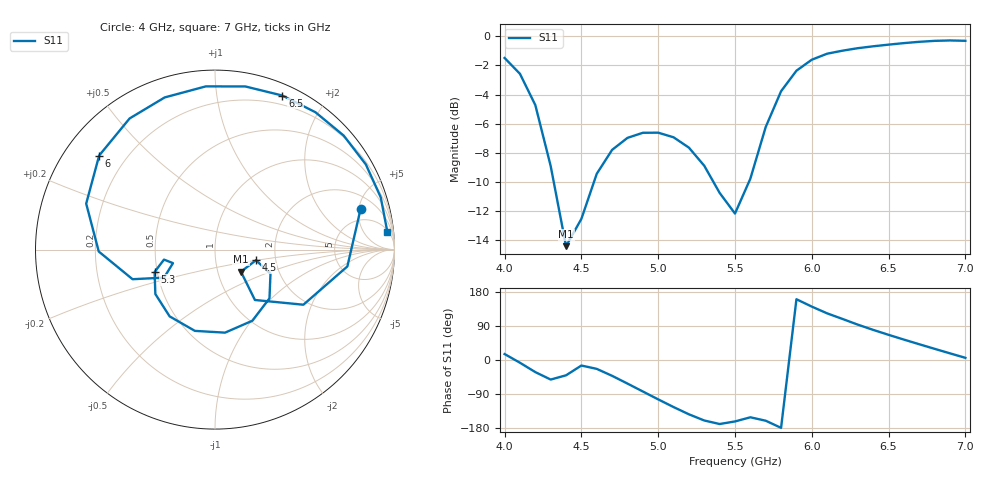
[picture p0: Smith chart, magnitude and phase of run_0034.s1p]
! Touchstone file exported from HFSS 2024.2.0
!  File:  C:/Users/wsak9/Desktop/Sim Fast/Widenad Patch/WP_AI_V1_sweep.aedt
!  Generated:  04:10:39 PM Oct 13, 2026
!  Design:  A1_model
!  Project:  WP_AI_V1_sweep
!  Setup:  Setup1
!  Solution:  Sweep
! Variables:
!  Air_gap = 2.75mm
!  Curve_Amp1 = 1.01
!  Curve_len1 = 1
!  Curve_pos = 12.05mm
!  Extra = 5.25mm
!  H_sub = 0.79mm
!  L_Patch = 20.1mm
!  L_Patch1 = 18.08mm
!  Sx = 2.11mm
!  Sy = 1.6mm
!  WS = 0.92mm
!  W_Patch = 21.35mm
!  W_Patch1 = 12.83mm
!Data is not renormalized
# GHz S MA
! Terminal data exported
! Port[1] = 1
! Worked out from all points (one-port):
!   31 points, 4 GHz to 7 GHz, reference per port
!   lowest |S11| = -14.4 dB at 4.4 GHz (marker M1), VSWR 1.47
!   |S11| at or under -10 dB: 4.32 GHz to 4.582 GHz (262.6 MHz wide, 5.9 % of centre); 5.359 GHz to 5.591 GHz (232.1 MHz wide, 4.24 % of centre)
!   S11 on the Smith chart (normalised r, x): 4 GHz: 3.32, +5.21; 4.5 GHz: 1.58, -0.20; 5.3 GHz: 0.48, -0.14; 6 GHz: 0.10, +0.35; 6.5 GHz: 0.11, +1.52; 7 GHz: 6, +18
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4  0.8428 15.7
4.1  0.7434 -7.2
4.2  0.5804 -31.9
4.3  0.3581 -51.6
4.4  0.1899 -40.4
4.5  0.2358 -14.6
4.6  0.337 -23.4
4.7  0.4072 -41.8
4.8  0.4477 -62.2
4.9  0.4661 -83.1
5  0.4665 -103.9
5.1  0.4498 -124.2
5.2  0.4143 -143.3
5.3  0.3589 -159.7
5.4  0.2895 -168.9
5.5  0.2459 -162.1
5.6  0.3241 -151.2
5.7  0.488 -160.2
5.8  0.6477 -179.0
5.9  0.762 160.4
6  0.8314 140.9
6.1  0.8719 123.1
6.2  0.893 108.3
6.3  0.9108 93.2
6.5  0.9368 66.4
6.7  0.958 41.5
6.9  0.9683 17.5
7  0.9656 5.7
